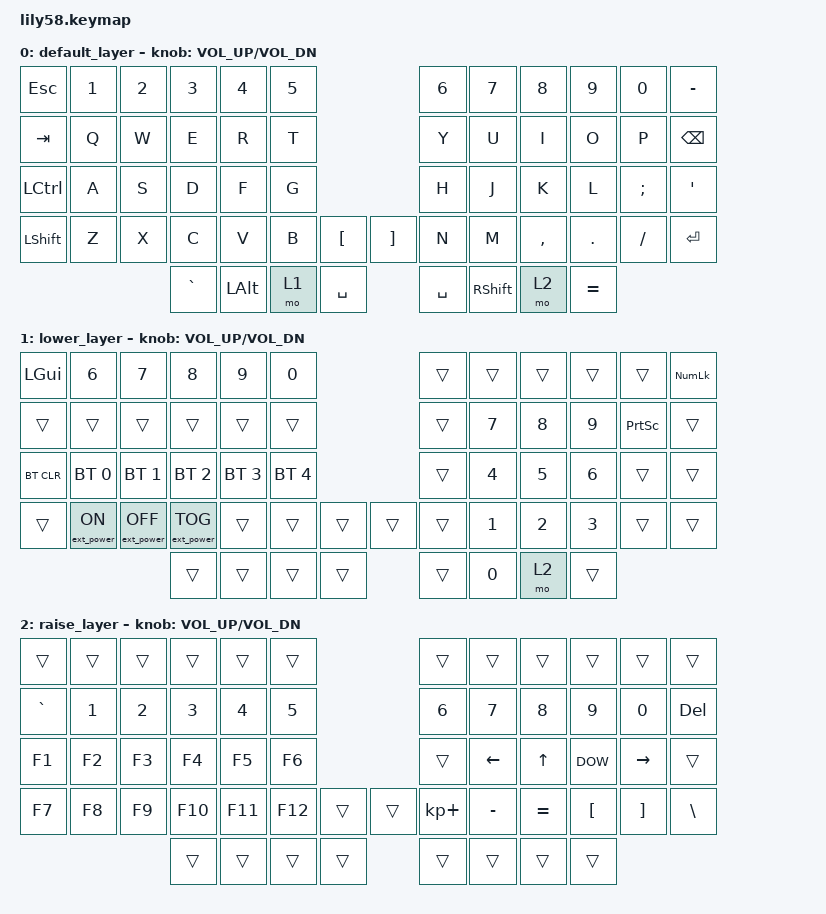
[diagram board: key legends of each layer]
/*
 * Copyright (c) 2020 The ZMK Contributors
 *
 * SPDX-License-Identifier: MIT
 */

#include <behaviors.dtsi>
#include <dt-bindings/zmk/keys.h>
#include <dt-bindings/zmk/bt.h>
#include <dt-bindings/zmk/ext_power.h>
#include <dt-bindings/zmk/rgb.h>

/ {
    combos {
        compatible = "zmk,combos";
        combo_grv {
            timeout-ms = <50>;
            key-positions = <0 36>;
            bindings = <&kp GRAVE>;
        };
    };
};

/ {
    combos {
        compatible = "zmk,combos";
        combo_tilde {
            timeout-ms = <50>;
            key-positions = <0 24>;
            bindings = <&kp TILDE>;
        };
    };
};

/ {
	keymap {
		compatible = "zmk,keymap";

		default_layer {
// ------------------------------------------------------------------------------------------------------------
// |  ESC  |  1  |  2  |  3   |  4   |  5   |                   |  6   |  7    |  8    |  9   |   0   |   -   |
// |  TAB  |  Q  |  W  |  E   |  R   |  T   |                   |  Y   |  U    |  I    |  O   |   P   |   BS  |
// |  CTRL |  A  |  S  |  D   |  F   |  G   |                   |  H   |  J    |  K    |  L   |   ;   |   '   |
// | SHIFT |  Z  |  X  |  C   |  V   |  B   |   "["  |  |  "]"  |  N   |  M    |  ,    |  .   |   /   | ENTER |
//                     |  `   | LALT | LOWER|  SPACE |  | SPACE |RSHIFT| RAISE |  =    |
			bindings = <
&kp ESC   &kp N1 &kp N2 &kp N3   &kp N4   &kp N5                     &kp N6 &kp N7   &kp N8    &kp N9  &kp N0   &kp MINUS
&kp TAB   &kp Q  &kp W  &kp E    &kp R    &kp T                      &kp Y  &kp U    &kp I     &kp O   &kp P    &kp BSPC
&kp LCTRL &kp A  &kp S  &kp D    &kp F    &kp G                      &kp H  &kp J    &kp K     &kp L   &kp SEMI &kp SQT
&kp LSHFT &kp Z  &kp X  &kp C    &kp V    &kp B  &kp LBKT   &kp RBKT &kp N  &kp M    &kp COMMA &kp DOT &kp FSLH &kp RET
                        &kp GRAVE &kp LALT &mo 1  &kp SPACE  &kp SPACE  &kp RSHFT  &mo 2 &kp EQUAL
			>;

			sensor-bindings = <&inc_dec_kp C_VOL_UP C_VOL_DN>;
		};

		lower_layer {
// ------------------------------------------------------------------------------------------------------------
// | LGUI  |  6  |  7  |   8  |   9  |   0  |                   |      |       |       |      |       |NumLock|
// |       |     |     |      |      |      |                   |      |   7   |   8   |  9   |PrntSc |       |
// | BTCLR | BT1 | BT2 |  BT3 |  BT4 |  BT5 |                   |      |   4   |   5   |  6   |       |       |
// |       |     |     |      |      |      |        |  |       |      |   1   |   2   |  3   |       |       |
//                     |      |      |      |        |  |       |   0  | RAISE |       |
			bindings = <
&kp LGUI   &kp 6            &kp 7             &kp 8             &kp 9        &kp 0                        &trans    &trans &trans &trans &trans    &kp KP_NUM
&trans     &trans 	    &trans 	      &trans  	        &trans       &trans                       &trans    &kp 7  &kp 8  &kp 9  &kp PSCRN &trans
&bt BT_CLR &bt BT_SEL 0     &bt BT_SEL 1      &bt BT_SEL 2      &bt BT_SEL 3 &bt BT_SEL 4                 &trans    &kp 4  &kp 5  &kp 6  &trans    &trans
&trans     &ext_power EP_ON &ext_power EP_OFF &ext_power EP_TOG &trans       &trans    &trans   &trans    &trans    &kp 1  &kp 2  &kp 3  &trans    &trans
                                              &trans            &trans       &trans    &trans   &trans    &kp 0    &mo 2  &trans
			>;

			sensor-bindings = <&inc_dec_kp C_VOL_UP C_VOL_DN>;
		};

		raise_layer {
// ------------------------------------------------------------------------------------------------------------
// |       |     |     |      |      |      |                   |      |       |       |      |       |       |
// |   `   |  1  |  2  |  3   |  4   |  5   |                   |  6   |   7   |   8   |  9   |   0   |  DEL  |
// |   F1  |  F2 |  F3 |  F4  |  F5  |  F6  |                   |      |   <-  |   ^   |  v   |  ->   |       |
// |   F7  |  F8 |  F9 |  F10 |  F11 |  F12 |        |  |       |  +   |   -   |   =   |  [   |   ]   |   \   |
//                     |      |      |      |        |  |       |      |       |       |
			bindings = <
&trans    &trans &trans &trans  &trans  &trans                       &trans      &trans    &trans    &trans   &trans    &trans
&kp GRAVE &kp N1 &kp N2 &kp N3  &kp N4  &kp N5                       &kp N6      &kp N7    &kp N8    &kp N9   &kp N0    &kp DEL
&kp F1    &kp F2 &kp F3 &kp F4  &kp F5  &kp F6                       &trans      &kp LEFT  &kp UP    &kp DOW  &kp RIGHT &trans
&kp F7    &kp F8 &kp F9 &kp F10 &kp F11 &kp F12   &trans   &trans    &kp KP_PLUS &kp MINUS &kp EQUAL &kp LBKT &kp RBKT  &kp BSLH
                        &trans  &trans  &trans    &trans   &trans    &trans      &trans    &trans
			>;

			sensor-bindings = <&inc_dec_kp C_VOL_UP C_VOL_DN>;
		};
	};
};
